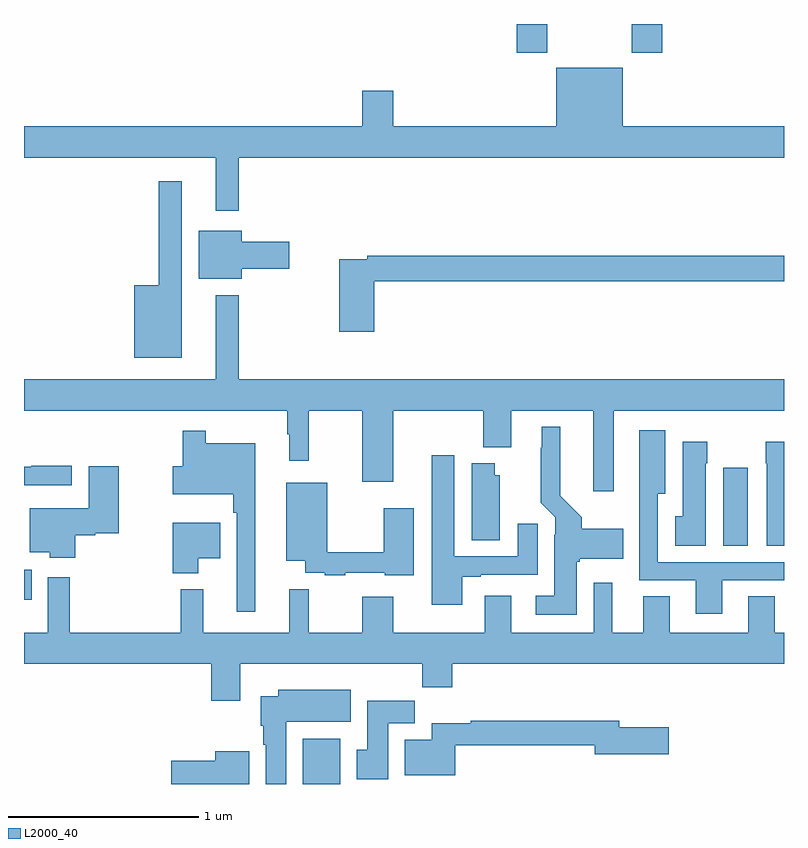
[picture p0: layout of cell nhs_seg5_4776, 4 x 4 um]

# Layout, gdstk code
import gdstk
lib = gdstk.Library(unit=1e-6, precision=1e-09)
def R(c, l, rs):  # rectangles x0, y0, x1, y1
    for r in rs: c.add(gdstk.rectangle(r[:2], r[2:], *l))
def P(c, l, *ps):  # polygons
    for p in ps: c.add(gdstk.Polygon(p, *l))
L2000_40 = (2000, 40)

nhs_seg5_4776 = lib.new_cell('nhs_seg5_4776')
R(nhs_seg5_4776, L2000_40, [(392.468,850.799,392.665,851.038), (391,851.768,391.04,851.926), (394.679,852.052,394.81,852.463), (393.593,854.649,393.753,854.799), (394.198,854.649,394.358,854.799)])
P(nhs_seg5_4776, L2000_40, [(392.131,854.096),(395,854.096),(395,854.26),(394.15,854.26),(394.15,854.569),(393.8,854.569),(393.8,854.26),(392.944,854.26),(392.944,854.449),(392.78,854.449),(392.78,854.26),(391,854.26),(391,854.096),(392.009,854.096),(392.009,853.815),(392.131,853.815)],
  [(391.831,853.972),(391.71,853.972),(391.71,853.423),(391.58,853.423),(391.58,853.043),(391.831,853.043)],
  [(392.146,853.511),(392.395,853.511),(392.395,853.653),(392.146,853.653),(392.146,853.711),(391.919,853.711),(391.919,853.457),(392.146,853.457)],
  [(392.843,853.444),(395,853.444),(395,853.58),(392.806,853.58),(392.806,853.56),(392.66,853.56),(392.66,853.179),(392.843,853.179)],
  [(392.131,853.372),(392.009,853.372),(392.009,852.928),(391,852.928),(391,852.764),(392.385,852.764),(392.385,852.641),(392.396,852.641),(392.396,852.501),(392.498,852.501),(392.498,852.764),(392.78,852.764),(392.78,852.39),(392.944,852.39),(392.944,852.764),(393.418,852.764),(393.418,852.572),(393.565,852.572),(393.565,852.764),(393.995,852.764),(393.995,852.339),(394.105,852.339),(394.105,852.764),(395,852.764),(395,852.928),(392.131,852.928)],
  [(393.91,851.97),(393.924,851.97),(393.924,851.984),(394.153,851.984),(394.153,852.142),(393.936,852.142),(393.936,852.203),(393.823,852.316),(393.823,852.679),(393.725,852.679),(393.725,852.569),(393.721,852.569),(393.721,852.278),(393.795,852.204),(393.795,852.11),(393.791,852.11),(393.791,851.791),(393.693,851.791),(393.693,851.69),(393.91,851.69)],
  [(394.675,851.871),(395,851.871),(395,851.967),(394.335,851.967),(394.335,852.326),(394.375,852.326),(394.375,852.661),(394.238,852.661),(394.238,852.33),(394.239,852.33),(394.239,851.871),(394.535,851.871),(394.535,851.694),(394.675,851.694)],
  [(392.218,852.592),(391.957,852.592),(391.957,852.658),(391.836,852.658),(391.836,852.471),(391.784,852.471),(391.784,852.323),(392.101,852.323),(392.101,852.227),(392.121,852.227),(392.121,851.706),(392.218,851.706)],
  [(395,852.601),(394.903,852.601),(394.903,852.488),(394.91,852.488),(394.91,852.052),(395,852.052)],
  [(394.588,852.488),(394.596,852.488),(394.596,852.601),(394.466,852.601),(394.466,852.209),(394.427,852.209),(394.427,852.052),(394.588,852.052)],
  [(393.307,851.889),(393.403,851.889),(393.403,851.901),(393.703,851.901),(393.703,852.169),(393.599,852.169),(393.599,851.997),(393.265,851.997),(393.265,852.529),(393.146,852.529),(393.146,851.742),(393.307,851.742)],
  [(393.505,852.423),(393.478,852.423),(393.478,852.487),(393.356,852.487),(393.356,852.082),(393.505,852.082)],
  [(391.252,852.473),(391.039,852.473),(391.039,852.47),(391,852.47),(391,852.372),(391.252,852.372)],
  [(391.271,852.107),(391.374,852.107),(391.374,852.119),(391.498,852.119),(391.498,852.472),(391.34,852.472),(391.34,852.25),(391.031,852.25),(391.031,852.02),(391.136,852.02),(391.136,851.99),(391.271,851.99)],
  [(393.052,852.25),(392.894,852.25),(392.894,852.019),(392.596,852.019),(392.596,852.385),(392.381,852.385),(392.381,851.975),(392.48,851.975),(392.48,851.91),(392.584,851.91),(392.584,851.898),(392.692,851.898),(392.692,851.91),(392.898,851.91),(392.898,851.897),(393.052,851.897)],
  [(391.918,851.987),(392.032,851.987),(392.032,852.175),(391.784,852.175),(391.784,851.909),(391.918,851.909)],
  [(393.097,851.308),(393.254,851.308),(393.254,851.432),(395,851.432),(395,851.596),(394.951,851.596),(394.951,851.786),(394.811,851.786),(394.811,851.596),(394.399,851.596),(394.399,851.786),(394.259,851.786),(394.259,851.596),(394.096,851.596),(394.096,851.857),(393.999,851.857),(393.999,851.596),(393.565,851.596),(393.565,851.791),(393.425,851.791),(393.425,851.596),(392.944,851.596),(392.944,851.785),(392.78,851.785),(392.78,851.596),(392.498,851.596),(392.498,851.825),(392.396,851.825),(392.396,851.596),(391.943,851.596),(391.943,851.824),(391.825,851.824),(391.825,851.596),(391.241,851.596),(391.241,851.887),(391.125,851.887),(391.125,851.596),(391,851.596),(391,851.432),(391.985,851.432),(391.985,851.238),(392.137,851.238),(392.137,851.432),(393.097,851.432)],
  [(392.38,851.126),(392.719,851.126),(392.719,851.296),(392.339,851.296),(392.339,851.26),(392.246,851.26),(392.246,851.106),(392.258,851.106),(392.258,851.006),(392.273,851.006),(392.273,850.799),(392.38,850.799)],
  [(392.917,851.12),(393.056,851.12),(393.056,851.238),(392.807,851.238),(392.807,850.98),(392.75,850.98),(392.75,850.824),(392.917,850.824)],
  [(393.269,851.002),(394.004,851.002),(394.004,850.955),(394.393,850.955),(394.393,851.097),(394.132,851.097),(394.132,851.131),(393.352,851.131),(393.352,851.12),(393.146,851.12),(393.146,851.032),(393.005,851.032),(393.005,850.844),(393.269,850.844)],
  [(392.185,850.972),(392.006,850.972),(392.006,850.922),(391.776,850.922),(391.776,850.799),(392.185,850.799)])

lib.write_gds('nhs_seg5_4776.gds')
